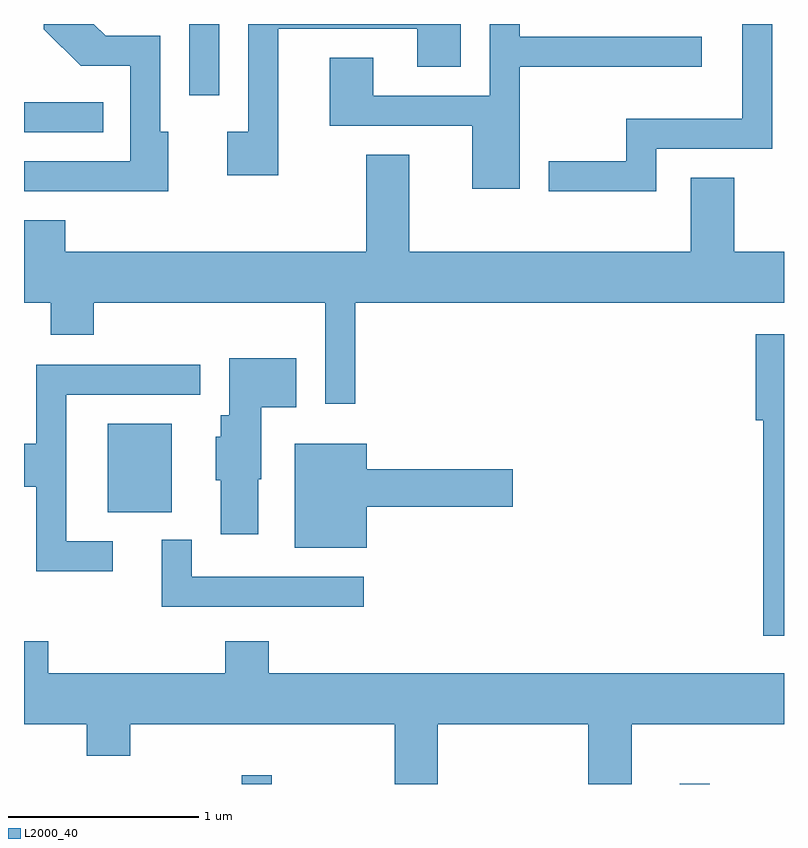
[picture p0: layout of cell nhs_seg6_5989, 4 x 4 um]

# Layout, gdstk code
import gdstk
lib = gdstk.Library(unit=1e-6, precision=1e-09)
def R(c, l, rs):  # rectangles x0, y0, x1, y1
    for r in rs: c.add(gdstk.rectangle(r[:2], r[2:], *l))
def P(c, l, *ps):  # polygons
    for p in ps: c.add(gdstk.Polygon(p, *l))
L2000_40 = (2000, 40)

nhs_seg6_5989 = lib.new_cell('nhs_seg6_5989')
R(nhs_seg6_5989, L2000_40, [(368.756,1554.162,368.914,1554.208), (371.061,1554.162,371.219,1554.163), (368.051,1555.591,368.389,1556.059), (367.611,1557.591,368.028,1557.749), (368.481,1557.788,368.639,1558.162)])
P(nhs_seg6_5989, L2000_40, [(368.949,1558.136),(369.681,1558.136),(369.681,1557.936),(369.909,1557.936),(369.909,1558.162),(368.791,1558.162),(368.791,1557.594),(368.681,1557.594),(368.681,1557.366),(368.949,1557.366)],
  [(368.369,1557.594),(368.329,1557.594),(368.329,1558.099),(368.042,1558.099),(367.979,1558.162),(367.716,1558.162),(367.716,1558.134),(367.909,1557.941),(368.171,1557.941),(368.171,1557.439),(367.611,1557.439),(367.611,1557.281),(368.369,1557.281)],
  [(370.219,1557.936),(371.178,1557.936),(371.178,1558.094),(370.219,1558.094),(370.219,1558.162),(370.061,1558.162),(370.061,1557.784),(369.449,1557.784),(369.449,1557.984),(369.221,1557.984),(369.221,1557.626),(369.971,1557.626),(369.971,1557.296),(370.219,1557.296)],
  [(370.939,1557.506),(371.549,1557.506),(371.549,1558.162),(371.391,1558.162),(371.391,1557.664),(370.781,1557.664),(370.781,1557.439),(370.373,1557.439),(370.373,1557.281),(370.939,1557.281)],
  [(369.354,1556.696),(371.611,1556.696),(371.611,1556.964),(371.349,1556.964),(371.349,1557.354),(371.121,1557.354),(371.121,1556.964),(369.639,1556.964),(369.639,1557.474),(369.411,1557.474),(369.411,1556.964),(367.829,1556.964),(367.829,1557.129),(367.611,1557.129),(367.611,1556.696),(367.751,1556.696),(367.751,1556.526),(367.979,1556.526),(367.979,1556.696),(369.196,1556.696),(369.196,1556.163),(369.354,1556.163)],
  [(371.611,1556.529),(371.461,1556.529),(371.461,1556.076),(371.501,1556.076),(371.501,1554.941),(371.611,1554.941)],
  [(368.844,1555.765),(368.859,1555.765),(368.859,1556.146),(369.044,1556.146),(369.044,1556.404),(368.691,1556.404),(368.691,1556.104),(368.646,1556.104),(368.646,1555.989),(368.621,1555.989),(368.621,1555.761),(368.646,1555.761),(368.646,1555.476),(368.844,1555.476)],
  [(368.078,1555.439),(367.834,1555.439),(367.834,1556.211),(368.538,1556.211),(368.538,1556.369),(367.676,1556.369),(367.676,1555.954),(367.611,1555.954),(367.611,1555.726),(367.676,1555.726),(367.676,1555.281),(368.078,1555.281)],
  [(369.414,1555.621),(370.184,1555.621),(370.184,1555.819),(369.414,1555.819),(369.414,1555.954),(369.036,1555.954),(369.036,1555.406),(369.414,1555.406)],
  [(369.398,1555.254),(368.494,1555.254),(368.494,1555.448),(368.336,1555.448),(368.336,1555.096),(369.398,1555.096)],
  [(369.789,1554.476),(370.581,1554.476),(370.581,1554.162),(370.809,1554.162),(370.809,1554.476),(371.611,1554.476),(371.611,1554.744),(368.899,1554.744),(368.899,1554.914),(368.671,1554.914),(368.671,1554.744),(367.739,1554.744),(367.739,1554.914),(367.611,1554.914),(367.611,1554.476),(367.941,1554.476),(367.941,1554.311),(368.169,1554.311),(368.169,1554.476),(369.561,1554.476),(369.561,1554.162),(369.789,1554.162)])

lib.write_gds('nhs_seg6_5989.gds')
